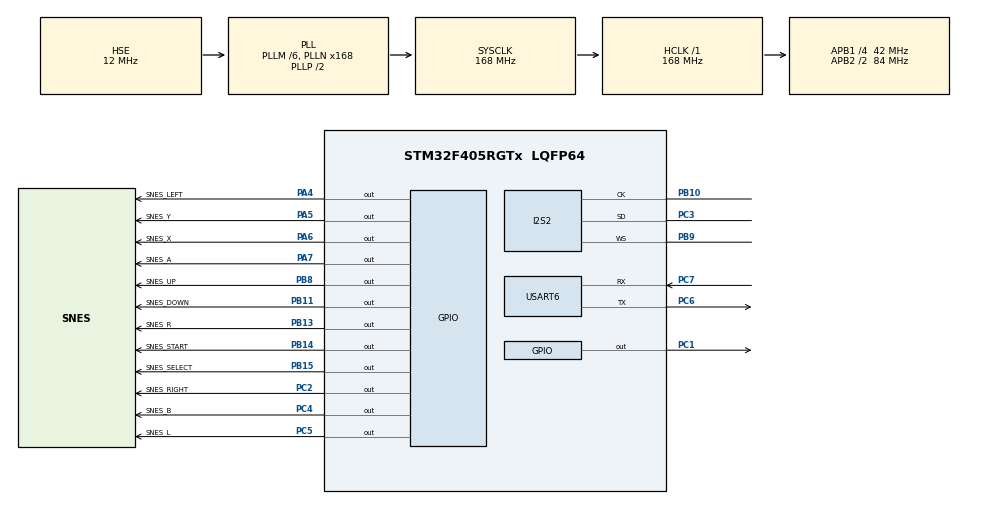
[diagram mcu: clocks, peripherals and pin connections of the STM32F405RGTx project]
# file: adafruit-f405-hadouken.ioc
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Mcu.Family=STM32F4
PC3.Mode=Half_Duplex_Master
Dma.SPI2_RX.0.Instance=DMA1_Stream3
PH0-OSC_IN.Signal=RCC_OSC_IN
RCC.CortexFreq_Value=168000000
PB10.Mode=Half_Duplex_Master
PB14.GPIO_Label=SNES_START
PA7.GPIO_ModeDefaultOutputPP=GPIO_MODE_OUTPUT_OD
PA6.GPIO_Label=SNES_X
PB13.GPIO_Label=SNES_R
PB11.Signal=GPIO_Output
PB13.Signal=GPIO_Output
PB15.Signal=GPIO_Output
PA5.PinState=GPIO_PIN_SET
PB15.PinState=GPIO_PIN_SET
RCC.SYSCLKSource=RCC_SYSCLKSOURCE_PLLCLK
ProjectManager.StackSize=0x400
PA7.PinState=GPIO_PIN_SET
RCC.HCLKFreq_Value=168000000
RCC.APB2TimFreq_Value=168000000
PB13.GPIO_ModeDefaultOutputPP=GPIO_MODE_OUTPUT_OD
PC7.Signal=USART6_RX
PC3.Signal=I2S2_SD
PB15.GPIO_ModeDefaultOutputPP=GPIO_MODE_OUTPUT_OD
RCC.AHBFreq_Value=168000000
PH0-OSC_IN.Mode=HSE-External-Oscillator
RCC.HSE_VALUE=12000000
PC4.GPIO_Label=SNES_B
PA14.Mode=Serial_Wire
PB8.PinState=GPIO_PIN_SET
Dma.SPI2_RX.0.MemDataAlignment=DMA_MDATAALIGN_HALFWORD
I2S2.DataFormat=I2S_DATAFORMAT_24B
Dma.SPI2_RX.0.MemInc=DMA_MINC_ENABLE
PH1-OSC_OUT.Mode=HSE-External-Oscillator
PB9.Signal=I2S2_WS
Mcu.Package=LQFP64
PA6.Signal=GPIO_Output
USART6.VirtualMode=VM_ASYNC
I2S2.Mode=I2S_MODE_MASTER_RX
PB11.PinState=GPIO_PIN_SET
PB8.GPIO_ModeDefaultOutputPP=GPIO_MODE_OUTPUT_OD
PA4.GPIO_ModeDefaultOutputPP=GPIO_MODE_OUTPUT_OD
PA6.GPIO_ModeDefaultOutputPP=GPIO_MODE_OUTPUT_OD
RCC.APB2CLKDivider=RCC_HCLK_DIV2
PC2.GPIO_ModeDefaultOutputPP=GPIO_MODE_OUTPUT_OD
RCC.APB1TimFreq_Value=84000000
PC5.Signal=GPIO_Output
Dma.SPI2_RX.0.Direction=DMA_PERIPH_TO_MEMORY
VP_TIM14_VS_ClockSourceINT.Mode=Enable_Timer
PC4.GPIO_ModeDefaultOutputPP=GPIO_MODE_OUTPUT_OD
Dma.Request0=SPI2_RX
PA4.GPIO_Label=SNES_LEFT
PC2.GPIO_Label=SNES_RIGHT
RCC.PLLSourceVirtual=RCC_PLLSOURCE_HSE
I2S2.AudioFreq=I2S_AUDIOFREQ_32K
I2S2.Instance=SPI$Index
PC4.PinState=GPIO_PIN_SET
Dma.SPI2_RX.0.Mode=DMA_CIRCULAR
PC2.Signal=GPIO_Output
PC4.Signal=GPIO_Output
PC6.Signal=USART6_TX
PB11.GPIO_Label=SNES_DOWN
PA6.PinState=GPIO_PIN_SET
RCC.APB1CLKDivider=RCC_HCLK_DIV4
NVIC.USART6_IRQn=true\:0\:0\:false\:false\:true\:true\:true
PA13.Signal=SYS_JTMS-SWDIO
PB8.GPIO_Label=SNES_UP
PB14.PinState=GPIO_PIN_SET
Dma.SPI2_RX.0.PeriphDataAlignment=DMA_PDATAALIGN_HALFWORD
PA4.PinState=GPIO_PIN_SET
ProjectManager.TargetToolchain=STM32CubeIDE
PC6.Mode=Asynchronous
PB9.Mode=Half_Duplex_Master
I2S2.VirtualMode=I2S_MODE_MASTER
RCC.LSE_VALUE=32768
PB14.GPIO_ModeDefaultOutputPP=GPIO_MODE_OUTPUT_OD
PB11.GPIO_ModeDefaultOutputPP=GPIO_MODE_OUTPUT_OD
PB10.Signal=I2S2_CK
PB14.Signal=GPIO_Output
PA5.Signal=GPIO_Output
board=custom
RCC.VCOOutputFreq_Value=336000000
RCC.APB2Freq_Value=84000000
PB13.PinState=GPIO_PIN_SET
PA5.GPIO_ModeDefaultOutputPP=GPIO_MODE_OUTPUT_OD
PB15.GPIO_Label=SNES_SELECT
PH1-OSC_OUT.Signal=RCC_OSC_OUT
Dma.SPI2_RX.0.FIFOMode=DMA_FIFOMODE_DISABLE
PA13.Mode=Serial_Wire
Dma.SPI2_RX.0.Priority=DMA_PRIORITY_LOW
Mcu.Name=STM32F405RGTx
TIM14.Prescaler=8400 - 1
I2S2.FullDuplexMode=I2S_FULLDUPLEXMODE_DISABLE
RCC.48MHZClocksFreq_Value=84000000
PA4.Signal=GPIO_Output
RCC.SYSCLKFreq_VALUE=168000000
PA7.GPIO_Label=SNES_A
PC2.PinState=GPIO_PIN_SET
PC5.PinState=GPIO_PIN_SET
PA5.GPIO_Label=SNES_Y
I2S2.ErrorAudioFreq=1.72 %
PC5.GPIO_Label=SNES_L
Dma.SPI2_RX.0.PeriphInc=DMA_PINC_DISABLE
PA14.Signal=SYS_JTCK-SWCLK
ProjectManager.HeapSize=0x200
RCC.HSI_VALUE=16000000
NVIC.PriorityGroup=NVIC_PRIORITYGROUP_4
RCC.PLLM=6
RCC.PLLN=168
PB8.Signal=GPIO_Output
NVIC.DMA1_Stream3_IRQn=true\:0\:0\:false\:false\:true\:false\:true
PC7.Mode=Asynchronous
RCC.APB1Freq_Value=42000000
PC5.GPIO_ModeDefaultOutputPP=GPIO_MODE_OUTPUT_OD
I2S2.RealAudioFreq=32.552 KHz
RCC.PLLI2SN=50
PC1.Signal=GPIO_Output
PA7.Signal=GPIO_Output

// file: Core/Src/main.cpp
/* USER CODE BEGIN Header */
/**
  ******************************************************************************
  * @file           : main.c
  * @brief          : Main program body
  ******************************************************************************
  * @attention
  *
  * <h2><center>&copy; Copyright (c) 2021 STMicroelectronics.
  * All rights reserved.</center></h2>
  *
  * This software component is licensed by ST under BSD 3-Clause license,
  * the "License"; You may not use this file except in compliance with the
  * License. You may obtain a copy of the License at:
  *                        opensource.org/licenses/BSD-3-Clause
  *
  ******************************************************************************
  */
/* USER CODE END Header */
#include "main.h"

/* USER CODE BEGIN Includes */
#include <stdarg.h>

#include "../../ei-keyword-spotting/edge-impulse-sdk/classifier/ei_run_classifier.h"
/* USER CODE END Includes */

/* USER CODE BEGIN PTD */

/** Audio buffers, pointers and selectors */
typedef struct
{
  int16_t *buffers[2];
  uint8_t buf_select;
  volatile uint8_t buf_ready;
  volatile uint32_t buf_count;
  uint32_t n_samples;
} inference_t;

/* USER CODE END PTD */

/* USER CODE BEGIN PD */

#define I2S_BUF_LEN 6400  // 8x desired size to downsample and throw out 1 ch
#define I2S_BUF_SKIP 8    // (2x L/R ch) * (2x sample rate)
#define ELEMENTS_PER_WORD 2	// Number buffer elements per 32-bit word

/* USER CODE END PD */

I2S_HandleTypeDef hi2s2;
DMA_HandleTypeDef hdma_spi2_rx;

TIM_HandleTypeDef htim14;

UART_HandleTypeDef huart6;

/* USER CODE BEGIN PV */

// Settings
static bool debug_nn = false; // Set this to true to see e.g. features generated from the raw signal
static float threshold_hadouken = 0.6;	// Confidence of keyword
// SNES controller button settings
static const uint32_t combo_delay = 50;    // ms
static const uint32_t press_delay = 250;    // ms
static const uint32_t wait_delay = 1000;    // ms

// Globals
uint16_t i2s_buf[I2S_BUF_LEN + 2];
static inference_t inference;
static volatile bool record_ready = false;

/* USER CODE END PV */

void SystemClock_Config(void);
static void MX_GPIO_Init(void);
static void MX_DMA_Init(void);
static void MX_I2S2_Init(void);
static void MX_TIM14_Init(void);
static void MX_USART6_UART_Init(void);
/* USER CODE BEGIN PFP */

static int get_audio_signal_data(size_t offset, size_t length, float *out_ptr);
static void audio_buffer_inference_callback(uint32_t n_bytes, uint32_t offset);
bool ei_microphone_inference_record(void);
bool ei_microphone_inference_end(void);
void ei_printf(const char *format, ...);
void vprint(const char *fmt, va_list argp);

// SNES controls
static void hadouken(void);

/* USER CODE END PFP */

int main(void)
{
  /* USER CODE BEGIN 1 */
  HAL_StatusTypeDef hal_res;
  int print_results = -(EI_CLASSIFIER_SLICES_PER_MODEL_WINDOW);
  uint32_t timestamp = 0;
  uint8_t trigger_flag = 0;

  /* USER CODE END 1 */

  /* MCU Configuration--------------------------------------------------------*/

  /* Reset of all peripherals, Initializes the Flash interface and the Systick. */
  HAL_Init();

  /* Configure the system clock */
  SystemClock_Config();

  /* Initialize all configured peripherals */
  MX_GPIO_Init();
  MX_DMA_Init();
  MX_I2S2_Init();
  MX_TIM14_Init();
  MX_USART6_UART_Init();
  /* USER CODE BEGIN 2 */

  // Say some stuff
  HAL_GPIO_WritePin(GPIOC, GPIO_PIN_1, GPIO_PIN_SET);
  ei_printf("Inferencing settings:\r\n");
  ei_printf("\tInterval: %.2f ms.\r\n", (float)EI_CLASSIFIER_INTERVAL_MS);
  ei_printf("\tFrame size: %d\r\n", EI_CLASSIFIER_DSP_INPUT_FRAME_SIZE);
  ei_printf("\tSample length: %d ms.\r\n", EI_CLASSIFIER_RAW_SAMPLE_COUNT / 16);
  ei_printf("\tNo. of classes: %d\r\n", sizeof(ei_classifier_inferencing_categories) / sizeof(ei_classifier_inferencing_categories[0]));
  HAL_Delay(1000);
  HAL_GPIO_WritePin(GPIOC, GPIO_PIN_1, GPIO_PIN_RESET);

  // Create double buffer
  inference.buffers[0] = (int16_t *)malloc(EI_CLASSIFIER_SLICE_SIZE * sizeof(int16_t));
  if(inference.buffers[0] == NULL)
  {
    ei_printf("ERROR: Could not create buffer 1. Likely ran out of heap memory.\r\n");
  }
  inference.buffers[1] = (int16_t *)malloc(EI_CLASSIFIER_SLICE_SIZE * sizeof(int16_t));
  if(inference.buffers[1] == NULL)
  {
    ei_printf("ERROR: Could not create buffer 2. Likely ran out of heap memory.\r\n");
  }

  // Set inference parameters
  inference.buf_select = 0;
  inference.buf_count  = 0;
  inference.n_samples  = EI_CLASSIFIER_SLICE_SIZE;
  inference.buf_ready  = 0;

  // Add guard to I2S buffer
  i2s_buf[I2S_BUF_LEN] = 0xbeef;
  i2s_buf[I2S_BUF_LEN + 1] = 0xbeef;

  // Start receiving I2S audio data
  hal_res =  HAL_I2S_Receive_DMA(&hi2s2, i2s_buf, (I2S_BUF_LEN / ELEMENTS_PER_WORD));
  if (hal_res != HAL_OK)
  {
    ei_printf("ERROR: Could not initialize I2S microphone.\r\n");
  }

  // TEST - press RIGHT a few times
  for (int i = 0; i < 3; i++)
  {
    HAL_GPIO_WritePin(GPIOC, GPIO_PIN_1, GPIO_PIN_SET);
    HAL_GPIO_WritePin(SNES_RIGHT_GPIO_Port, SNES_RIGHT_Pin, GPIO_PIN_RESET);
    HAL_Delay(50);
    HAL_GPIO_WritePin(GPIOC, GPIO_PIN_1, GPIO_PIN_RESET);
    HAL_GPIO_WritePin(SNES_RIGHT_GPIO_Port, SNES_RIGHT_Pin, GPIO_PIN_SET);
    HAL_Delay(950);
  }

  // Start doing inference
  record_ready = true;

  if (record_ready)
  {
    ei_printf("Listening!\r\n");
  }

  /* USER CODE END 2 */

  /* Infinite loop */
  /* USER CODE BEGIN WHILE */
  while (1)
  {
    //ei_printf("Waiting...");

    // Wait until buffer is full
    bool m = ei_microphone_inference_record();
    if (!m)
    {
      ei_printf("ERROR: Audio buffer overrun\r\n");
      break;
    }

    //ei_printf("Inferencing...");

    // Do classification (i.e. the inference part)
    signal_t signal;
    signal.total_length = EI_CLASSIFIER_SLICE_SIZE;
    signal.get_data = &get_audio_signal_data;
    ei_impulse_result_t result = { 0 };
    EI_IMPULSE_ERROR r = run_classifier_continuous(&signal, &result, debug_nn);
    if (r != EI_IMPULSE_OK)
    {
	ei_printf("ERROR: Failed to run classifier (%d)\r\n", r);
	break;
    }

    //ei_printf("Done!\r\n");

    // Print output predictions (once every 4 predictions)
    if(++print_results >= (EI_CLASSIFIER_SLICES_PER_MODEL_WINDOW >> 1))
    {
      // Comment this section out if you don't want to see the raw scores
      ei_printf("Predictions (DSP: %d ms, NN: %d ms)\r\n", result.timing.dsp, result.timing.classification);
//      for (size_t ix = 0; ix < EI_CLASSIFIER_LABEL_COUNT; ix++)
//      {
//	  ei_printf("    %s: %.5f\r\n", result.classification[ix].label, result.classification[ix].value);
//      }
//      print_results = 0;
    }

    // Do the combo if "hadouken" is above threshold
    // TODO: flush MFCC buffer or make hadouken non-blocking and disable inferencing
    if (result.classification[2].value > threshold_hadouken)
    {
      // Stop listening and do combo
      if (trigger_flag == 0)
      {
	record_ready = false;
	HAL_GPIO_WritePin(GPIOC, GPIO_PIN_1, GPIO_PIN_SET);
	ei_printf("HADOUKEN!\r\n");
	hadouken();
	trigger_flag = 1;
	record_ready = true;
      } else {
	trigger_flag = 0;
      }

    }
    else
    {
      HAL_GPIO_WritePin(GPIOC, GPIO_PIN_1, GPIO_PIN_RESET);
    }

    // ***END OF EXAMPLES***
    /* USER CODE END WHILE */

    /* USER CODE BEGIN 3 */
  }

  ei_microphone_inference_end();

  /* USER CODE END 3 */
}

void SystemClock_Config(void)
{
  RCC_OscInitTypeDef RCC_OscInitStruct = {0};
  RCC_ClkInitTypeDef RCC_ClkInitStruct = {0};
  RCC_PeriphCLKInitTypeDef PeriphClkInitStruct = {0};

  /** Configure the main internal regulator output voltage
  */
  __HAL_RCC_PWR_CLK_ENABLE();
  __HAL_PWR_VOLTAGESCALING_CONFIG(PWR_REGULATOR_VOLTAGE_SCALE1);
  /** Initializes the RCC Oscillators according to the specified parameters
  * in the RCC_OscInitTypeDef structure.
  */
  RCC_OscInitStruct.OscillatorType = RCC_OSCILLATORTYPE_HSE;
  RCC_OscInitStruct.HSEState = RCC_HSE_ON;
  RCC_OscInitStruct.PLL.PLLState = RCC_PLL_ON;
  RCC_OscInitStruct.PLL.PLLSource = RCC_PLLSOURCE_HSE;
  RCC_OscInitStruct.PLL.PLLM = 6;
  RCC_OscInitStruct.PLL.PLLN = 168;
  RCC_OscInitStruct.PLL.PLLP = RCC_PLLP_DIV2;
  RCC_OscInitStruct.PLL.PLLQ = 4;
  if (HAL_RCC_OscConfig(&RCC_OscInitStruct) != HAL_OK)
  {
    Error_Handler();
  }
  /** Initializes the CPU, AHB and APB buses clocks
  */
  RCC_ClkInitStruct.ClockType = RCC_CLOCKTYPE_HCLK|RCC_CLOCKTYPE_SYSCLK
                              |RCC_CLOCKTYPE_PCLK1|RCC_CLOCKTYPE_PCLK2;
  RCC_ClkInitStruct.SYSCLKSource = RCC_SYSCLKSOURCE_PLLCLK;
  RCC_ClkInitStruct.AHBCLKDivider = RCC_SYSCLK_DIV1;
  RCC_ClkInitStruct.APB1CLKDivider = RCC_HCLK_DIV4;
  RCC_ClkInitStruct.APB2CLKDivider = RCC_HCLK_DIV2;

  if (HAL_RCC_ClockConfig(&RCC_ClkInitStruct, FLASH_LATENCY_5) != HAL_OK)
  {
    Error_Handler();
  }
  PeriphClkInitStruct.PeriphClockSelection = RCC_PERIPHCLK_I2S;
  PeriphClkInitStruct.PLLI2S.PLLI2SN = 50;
  PeriphClkInitStruct.PLLI2S.PLLI2SR = 2;
  if (HAL_RCCEx_PeriphCLKConfig(&PeriphClkInitStruct) != HAL_OK)
  {
    Error_Handler();
  }
}

static void MX_I2S2_Init(void)
{

  hi2s2.Instance = SPI2;
  hi2s2.Init.Mode = I2S_MODE_MASTER_RX;
  hi2s2.Init.Standard = I2S_STANDARD_PHILIPS;
  hi2s2.Init.DataFormat = I2S_DATAFORMAT_24B;
  hi2s2.Init.MCLKOutput = I2S_MCLKOUTPUT_DISABLE;
  hi2s2.Init.AudioFreq = I2S_AUDIOFREQ_32K;
  hi2s2.Init.CPOL = I2S_CPOL_LOW;
  hi2s2.Init.ClockSource = I2S_CLOCK_PLL;
  hi2s2.Init.FullDuplexMode = I2S_FULLDUPLEXMODE_DISABLE;
  if (HAL_I2S_Init(&hi2s2) != HAL_OK)
  {
    Error_Handler();
  }

}

static void MX_TIM14_Init(void)
{

  htim14.Instance = TIM14;
  htim14.Init.Prescaler = 8400 - 1;
  htim14.Init.CounterMode = TIM_COUNTERMODE_UP;
  htim14.Init.Period = 65535;
  htim14.Init.ClockDivision = TIM_CLOCKDIVISION_DIV1;
  htim14.Init.AutoReloadPreload = TIM_AUTORELOAD_PRELOAD_DISABLE;
  if (HAL_TIM_Base_Init(&htim14) != HAL_OK)
  {
    Error_Handler();
  }

}

static void MX_USART6_UART_Init(void)
{

  huart6.Instance = USART6;
  huart6.Init.BaudRate = 115200;
  huart6.Init.WordLength = UART_WORDLENGTH_8B;
  huart6.Init.StopBits = UART_STOPBITS_1;
  huart6.Init.Parity = UART_PARITY_NONE;
  huart6.Init.Mode = UART_MODE_TX_RX;
  huart6.Init.HwFlowCtl = UART_HWCONTROL_NONE;
  huart6.Init.OverSampling = UART_OVERSAMPLING_16;
  if (HAL_UART_Init(&huart6) != HAL_OK)
  {
    Error_Handler();
  }

}

static void MX_DMA_Init(void)
{

  /* DMA controller clock enable */
  __HAL_RCC_DMA1_CLK_ENABLE();

  /* DMA interrupt init */
  /* DMA1_Stream3_IRQn interrupt configuration */
  HAL_NVIC_SetPriority(DMA1_Stream3_IRQn, 0, 0);
  HAL_NVIC_EnableIRQ(DMA1_Stream3_IRQn);

}

static void MX_GPIO_Init(void)
{
  GPIO_InitTypeDef GPIO_InitStruct = {0};

  /* GPIO Ports Clock Enable */
  __HAL_RCC_GPIOH_CLK_ENABLE();
  __HAL_RCC_GPIOC_CLK_ENABLE();
  __HAL_RCC_GPIOA_CLK_ENABLE();
  __HAL_RCC_GPIOB_CLK_ENABLE();

  /*Configure GPIO pin Output Level */
  HAL_GPIO_WritePin(GPIOC, GPIO_PIN_1, GPIO_PIN_RESET);

  /*Configure GPIO pin Output Level */
  HAL_GPIO_WritePin(GPIOC, SNES_RIGHT_Pin|SNES_B_Pin|SNES_L_Pin, GPIO_PIN_SET);

  /*Configure GPIO pin Output Level */
  HAL_GPIO_WritePin(GPIOA, SNES_LEFT_Pin|SNES_Y_Pin|SNES_X_Pin|SNES_A_Pin, GPIO_PIN_SET);

  /*Configure GPIO pin Output Level */
  HAL_GPIO_WritePin(GPIOB, SNES_DOWN_Pin|SNES_R_Pin|SNES_START_Pin|SNES_SELECT_Pin
                          |SNES_UP_Pin, GPIO_PIN_SET);

  /*Configure GPIO pin : PC1 */
  GPIO_InitStruct.Pin = GPIO_PIN_1;
  GPIO_InitStruct.Mode = GPIO_MODE_OUTPUT_PP;
  GPIO_InitStruct.Pull = GPIO_NOPULL;
  GPIO_InitStruct.Speed = GPIO_SPEED_FREQ_LOW;
  HAL_GPIO_Init(GPIOC, &GPIO_InitStruct);

  /*Configure GPIO pins : SNES_RIGHT_Pin SNES_B_Pin SNES_L_Pin */
  GPIO_InitStruct.Pin = SNES_RIGHT_Pin|SNES_B_Pin|SNES_L_Pin;
  GPIO_InitStruct.Mode = GPIO_MODE_OUTPUT_OD;
  GPIO_InitStruct.Pull = GPIO_NOPULL;
  GPIO_InitStruct.Speed = GPIO_SPEED_FREQ_LOW;
  HAL_GPIO_Init(GPIOC, &GPIO_InitStruct);

  /*Configure GPIO pins : SNES_LEFT_Pin SNES_Y_Pin SNES_X_Pin SNES_A_Pin */
  GPIO_InitStruct.Pin = SNES_LEFT_Pin|SNES_Y_Pin|SNES_X_Pin|SNES_A_Pin;
  GPIO_InitStruct.Mode = GPIO_MODE_OUTPUT_OD;
  GPIO_InitStruct.Pull = GPIO_NOPULL;
  GPIO_InitStruct.Speed = GPIO_SPEED_FREQ_LOW;
  HAL_GPIO_Init(GPIOA, &GPIO_InitStruct);

  /*Configure GPIO pins : SNES_DOWN_Pin SNES_R_Pin SNES_START_Pin SNES_SELECT_Pin
                           SNES_UP_Pin */
  GPIO_InitStruct.Pin = SNES_DOWN_Pin|SNES_R_Pin|SNES_START_Pin|SNES_SELECT_Pin
                          |SNES_UP_Pin;
  GPIO_InitStruct.Mode = GPIO_MODE_OUTPUT_OD;
  GPIO_InitStruct.Pull = GPIO_NOPULL;
  GPIO_InitStruct.Speed = GPIO_SPEED_FREQ_LOW;
  HAL_GPIO_Init(GPIOB, &GPIO_InitStruct);

}

/* USER CODE BEGIN 4 */

/**
 * Perform hadouken combo on controller.
 */
static void hadouken(void)
{
  // Quarter circle (player 1) + Y
  HAL_GPIO_WritePin(SNES_DOWN_GPIO_Port, SNES_DOWN_Pin, GPIO_PIN_RESET);
  HAL_Delay(combo_delay);
  HAL_GPIO_WritePin(SNES_RIGHT_GPIO_Port, SNES_RIGHT_Pin, GPIO_PIN_RESET);
  HAL_Delay(combo_delay);
  HAL_GPIO_WritePin(SNES_DOWN_GPIO_Port, SNES_DOWN_Pin, GPIO_PIN_SET);
  HAL_Delay(combo_delay);
  HAL_GPIO_WritePin(SNES_RIGHT_GPIO_Port, SNES_RIGHT_Pin, GPIO_PIN_SET);
  HAL_GPIO_WritePin(SNES_Y_GPIO_Port, SNES_Y_Pin, GPIO_PIN_RESET);
  HAL_Delay(combo_delay);
  HAL_GPIO_WritePin(SNES_Y_GPIO_Port, SNES_Y_Pin, GPIO_PIN_SET);
  HAL_Delay(combo_delay);
}

/**
 * @brief      Wait for a full buffer
 *
 * @return     In case of an buffer overrun return false
 */
bool ei_microphone_inference_record(void)
{
  bool ret = true;

  // Check to see if the buffer has overrun
  if (inference.buf_ready == 1) {
      ret = false;
  }

  // %%%TODO: make this non-blocking
  while (inference.buf_ready == 0)
  {
    continue;
  }

  inference.buf_ready = 0;

  return ret;
}

/**
 * @brief      Stop audio sampling, release sampling buffers
 *
 * @return     false on error
 */
bool ei_microphone_inference_end(void)
{
  // Stop I2S
  HAL_I2S_DMAStop(&hi2s2);

  // Free up double buffer
  record_ready = false;
  free(inference.buffers[0]);
  free(inference.buffers[1]);

  return true;
}

/**
 * @brief      Copy sample data in selected buf and signal ready when buffer is full
 *
 * @param[in]  n_bytes  Number of bytes to copy
 * @param[in]  offset   offset in sampleBuffer
 */
static void audio_buffer_inference_callback(uint32_t n_samples, uint32_t offset)
{
  // Copy samples from I2S buffer to inference buffer. Convert 24-bit, 32kHz
  // samples to 16-bit, 16kHz
  for (uint32_t i = 0; i < (n_samples / I2S_BUF_SKIP); i++) {
    inference.buffers[inference.buf_select][inference.buf_count++] =
        (int16_t)(i2s_buf[offset + (I2S_BUF_SKIP * i)]);

    if (inference.buf_count >= inference.n_samples) {
      inference.buf_select ^= 1;
      inference.buf_count = 0;
      inference.buf_ready = 1;
    }
  }
}

/**
 * Get raw audio signal data
 */
static int get_audio_signal_data(size_t offset, size_t length, float *out_ptr)
{
  numpy::int16_to_float(&inference.buffers[inference.buf_select ^ 1][offset], out_ptr, length);

  return 0;
}

/**
 * Low-level print function that uses UART to print status messages.
 */
void vprint(const char *fmt, va_list argp)
{
  char string[200];
  if(0 < vsprintf(string, fmt, argp)) // build string
  {
      HAL_UART_Transmit(&huart6, (uint8_t*)string, strlen(string), 0xffffff);
  }
}

/**
 * Wrapper for vprint. Use this like you would printf to print messages to the serial console.
 */
void ei_printf(const char *format, ...)
{
  va_list myargs;
  va_start(myargs, format);
  vprint(format, myargs);
  va_end(myargs);
}

/**
 * Called when the first half of the receive buffer is full
 */
void HAL_I2S_RxHalfCpltCallback(I2S_HandleTypeDef *hi2s)
{
  if (record_ready == true)
  {
    audio_buffer_inference_callback(I2S_BUF_LEN / 2, 0);
  }
}

/**
 * Called when the second half of the receive buffer is full
 */
void HAL_I2S_RxCpltCallback(I2S_HandleTypeDef *hi2s)
{
  if (record_ready == true)
  {
    audio_buffer_inference_callback(I2S_BUF_LEN / 2, I2S_BUF_LEN / 2);
  }
}

/* USER CODE END 4 */

void Error_Handler(void)
{
  __disable_irq();
  while (1)
  {
  }
}

/************************ (C) COPYRIGHT STMicroelectronics *****END OF FILE****/
